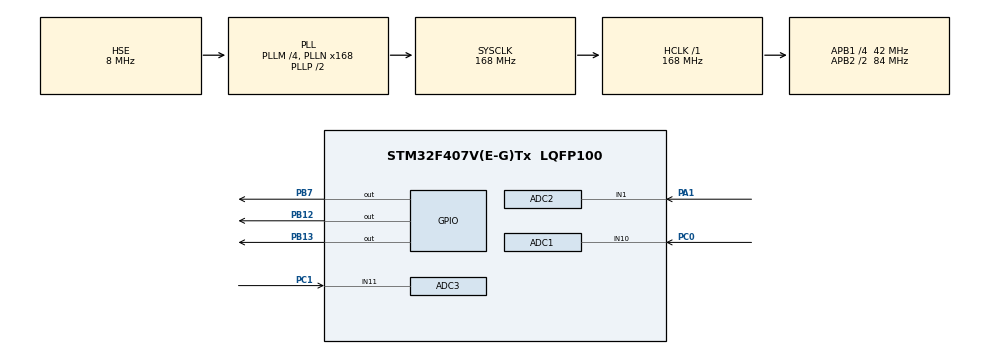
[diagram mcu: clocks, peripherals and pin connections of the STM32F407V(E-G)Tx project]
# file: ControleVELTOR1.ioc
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ADC1.Channel-3\#ChannelRegularConversion=ADC_CHANNEL_10
ADC1.ClockPrescaler=ADC_CLOCK_SYNC_PCLK_DIV8
ADC1.NbrOfConversionFlag=1
ADC1.Rank-3\#ChannelRegularConversion=1
ADC1.SamplingTime-3\#ChannelRegularConversion=ADC_SAMPLETIME_3CYCLES
ADC1.master=1
ADC2.Channel-1\#ChannelRegularConversion=ADC_CHANNEL_1
ADC2.ClockPrescaler=ADC_CLOCK_SYNC_PCLK_DIV8
ADC2.NbrOfConversionFlag=1
ADC2.Rank-1\#ChannelRegularConversion=1
ADC2.SamplingTime-1\#ChannelRegularConversion=ADC_SAMPLETIME_3CYCLES
ADC3.Channel-1\#ChannelRegularConversion=ADC_CHANNEL_11
ADC3.ClockPrescaler=ADC_CLOCK_SYNC_PCLK_DIV8
ADC3.NbrOfConversionFlag=1
ADC3.Rank-1\#ChannelRegularConversion=1
ADC3.SamplingTime-1\#ChannelRegularConversion=ADC_SAMPLETIME_3CYCLES
FREERTOS.Tasks01=defaultTask,24,128,StartDefaultTask,Default,NULL,Dynamic,NULL,NULL
FREERTOS.configUSE_NEWLIB_REENTRANT=1
Mcu.Family=STM32F4
Mcu.Name=STM32F407V(E-G)Tx
Mcu.Package=LQFP100
NVIC.ADC_IRQn=true\:5\:0\:false\:false\:true\:true\:true\:true
NVIC.PriorityGroup=NVIC_PRIORITYGROUP_4
NVIC.TIM6_DAC_IRQn=true\:15\:0\:false\:false\:true\:false\:false\:true
NVIC.TimeBase=TIM6_DAC_IRQn
NVIC.TimeBaseIP=TIM6
PA1.Signal=ADCx_IN1
PB12.Signal=GPIO_Output
PB13.Signal=GPIO_Output
PB7.Signal=GPIO_Output
PC0.Signal=ADCx_IN10
PC1.Signal=ADCx_IN11
PH0-OSC_IN.Mode=HSE-External-Oscillator
PH0-OSC_IN.Signal=RCC_OSC_IN
PH1-OSC_OUT.Mode=HSE-External-Oscillator
PH1-OSC_OUT.Signal=RCC_OSC_OUT
ProjectManager.HeapSize=0x200
ProjectManager.StackSize=0x400
ProjectManager.TargetToolchain=STM32CubeIDE
RCC.48MHZClocksFreq_Value=84000000
RCC.AHBFreq_Value=168000000
RCC.APB1CLKDivider=RCC_HCLK_DIV4
RCC.APB1Freq_Value=42000000
RCC.APB1TimFreq_Value=84000000
RCC.APB2CLKDivider=RCC_HCLK_DIV2
RCC.APB2Freq_Value=84000000
RCC.APB2TimFreq_Value=168000000
RCC.CortexFreq_Value=168000000
RCC.HCLKFreq_Value=168000000
RCC.HSE_VALUE=8000000
RCC.HSI_VALUE=16000000
RCC.LSE_VALUE=32768
RCC.PLLM=4
RCC.PLLN=168
RCC.PLLSourceVirtual=RCC_PLLSOURCE_HSE
RCC.SYSCLKFreq_VALUE=168000000
RCC.SYSCLKSource=RCC_SYSCLKSOURCE_PLLCLK
RCC.VCOOutputFreq_Value=336000000
SH.ADCx_IN1.0=ADC2_IN1,IN1
SH.ADCx_IN10.0=ADC1_IN10,IN10
SH.ADCx_IN11.0=ADC3_IN11,IN11
VP_FREERTOS_VS_CMSIS_V2.Mode=CMSIS_V2
VP_SYS_VS_tim6.Mode=TIM6
board=custom

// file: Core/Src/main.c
/* USER CODE BEGIN Header */
/**
  ******************************************************************************
  * @file           : main.c
  * @brief          : Main program body
  ******************************************************************************
  * @attention
  *
  * <h2><center>&copy; Copyright (c) 2021 STMicroelectronics.
  * All rights reserved.</center></h2>
  *
  * This software component is licensed by ST under BSD 3-Clause license,
  * the "License"; You may not use this file except in compliance with the
  * License. You may obtain a copy of the License at:
  *                        opensource.org/licenses/BSD-3-Clause
  *
  ******************************************************************************
  */
/* USER CODE END Header */
#include "main.h"
#include "cmsis_os.h"

/* USER CODE BEGIN Includes */
#include <stdint.h>
#include "pwm.h"
#include "qdc.h"
#include "task.h"
#include "queue.h"
#include "setup.h"
/* USER CODE END Includes */

/* USER CODE BEGIN PM */
//motor 1
#define Kp_w1 1
#define Ki_w1 1
#define Kd_w1 1
#define Kp_i1 1
#define Ki_i1 1
#define Kd_i1 1
//motor 2
#define Kp_w2 1
#define Ki_w2 1
#define Kd_w2 1
#define Kp_i2 1
#define Ki_i2 1
#define Kd_i2 1
//motor 3
#define Kp_w3 1
#define Ki_w3 1
#define Kd_w3 1
#define Kp_i3 1
#define Ki_i3 1
#define Kd_i3 1
//outros
#define pi 3.14159
#define kt 18.803
#define PPR 1440
#define dt 0.01
#define dt2 0.0005
/* USER CODE END PM */

ADC_HandleTypeDef hadc1;
ADC_HandleTypeDef hadc2;
ADC_HandleTypeDef hadc3;

/* Definitions for defaultTask */
osThreadId_t defaultTaskHandle;
const osThreadAttr_t defaultTask_attributes = {
  .name = "defaultTask",
  .stack_size = 128 * 4,
  .priority = (osPriority_t) osPriorityNormal,
};

void SystemClock_Config(void);
static void MX_GPIO_Init(void);
static void MX_ADC2_Init(void);
static void MX_ADC3_Init(void);
static void MX_ADC1_Init(void);
void StartDefaultTask(void *argument);

/* USER CODE BEGIN PFP */
void task_EncoderCrtlSpeed( void *pvParameters );
void task_ADCdataIn( void *pvParameters );
float *ctrl_PID (float kp, float ki, float kd, float T, float input, float setpoint, float *data);
QueueHandle_t xQueue_tqSpeed1;
QueueHandle_t xQueue_tqSpeed2;
QueueHandle_t xQueue_tqSpeed3;
QueueHandle_t xQueue_ADC1;
QueueHandle_t xQueue_ADC2;
QueueHandle_t xQueue_ADC3;
QueueHandle_t xQueue_setpointVel1; // filas para receber as velocidades definidas pelo usuário
QueueHandle_t xQueue_setpointVel2;
QueueHandle_t xQueue_setpointVel3;
static float dataInput_w1[3], dataInput_w2[3], dataInput_w3[3];
static float dataInput_i1[3], dataInput_i2[3], dataInput_i3[3];
static float *aux;
/* USER CODE END PFP */

int main(void)
{
  /* USER CODE BEGIN 1 */
  HAL_StatusTypeDef ADC_status1, ADC_status2, ADC_status3;
  PWM_Parameters_t Parameters1, Parameters2, Parameters3;
  QDC_Parameters_t QDC_Parameters1, QDC_Parameters2, QDC_Parameters3;
  /* USER CODE END 1 */

  /* MCU Configuration--------------------------------------------------------*/

  /* Reset of all peripherals, Initializes the Flash interface and the Systick. */
  HAL_Init();

  /* Configure the system clock */
  SystemClock_Config();

  /* Initialize all configured peripherals */
  MX_GPIO_Init();
  MX_ADC2_Init();
  MX_ADC3_Init();
  MX_ADC1_Init();
  /* USER CODE BEGIN 2 */
  //start_rtos();

  xQueue_tqSpeed1 = xQueueCreate( 1, sizeof( float ) );
  xQueue_tqSpeed2 = xQueueCreate( 1, sizeof( float ) );
  xQueue_tqSpeed3 = xQueueCreate( 1, sizeof( float ) );
  xQueue_ADC1 = xQueueCreate( 1, sizeof( uint32_t ) );
  xQueue_ADC2 = xQueueCreate( 1, sizeof( uint32_t ) );
  xQueue_ADC3 = xQueueCreate( 1, sizeof( uint32_t ) );
  xQueue_setpointVel1 = xQueueCreate( 1, sizeof( float ) );
  xQueue_setpointVel2 = xQueueCreate( 1, sizeof( float ) );
  xQueue_setpointVel3 = xQueueCreate( 1, sizeof( float ) );

  xTaskCreate(
         task_EncoderCrtlSpeed                     /* Funcao a qual esta implementado o que a tarefa deve fazer */
       , "EncoderCrtlSpeed"   /* Nome (para fins de debug, se necessário) */
       , 256                          /* Tamanho da stack (em words) reservada para essa tarefa */
       , NULL                         /* Parametros passados (nesse caso, não há) */
       , 1                            /* Prioridade */
       , NULL);                      /* Handle da tarefa, opcional (nesse caso, não há) */

  xTaskCreate(task_ADCdataIn, "LeituraADC", 256, NULL, 1, NULL);

  ADC_status1 = HAL_ADC_Start_IT(&hadc1); //Inicia o ADC1 com interrupção
  if (ADC_status1 != HAL_OK) //Verifica se ta tudo bem
  {
	  Error_Handler();
  }

  ADC_status2 = HAL_ADC_Start_IT(&hadc2); //Inicia o ADC2 com interrupção
  if (ADC_status2 != HAL_OK) //Verifica se ta tudo bem
  {
  	  Error_Handler();
  }

  ADC_status3 = HAL_ADC_Start_IT(&hadc3); //Inicia o ADC3 com interrupção
  if (ADC_status3 != HAL_OK) //Verifica se ta tudo bem
  {
      Error_Handler();
  }

  // motor 1
  Parameters1.Channel = PWM12_CH1_PB14;
  Parameters1.Duty = 50; // 50% pra iniciar
  Parameters1.Frequency = 15000.0;
  Parameters1.Mode = PWM_EDGE_ALIGNED;
  Parameters1.Preference = PWM_RESOLUTION;
  Parameters1.Reslution = PWM_8BITS;
  PWM_Init(0, Parameters1); //passa a estrutura com as configurações

  QDC_Parameters1.Port = QDC4_CH1_PD12_CH2_PD13;
  QDC_Parameters1.PullConfig = QDC_PULL_UP;
  QDC_Parameters1.Resolution = QDC_X1;
  QDC_Init(0, QDC_Parameters1); //Inicia Encoder

  //motor 2
  Parameters2.Channel = PWM12_CH2_PB15;
  Parameters2.Duty = 50; // 50% pra iniciar
  Parameters2.Frequency = 15000.0;
  Parameters2.Mode = PWM_EDGE_ALIGNED;
  Parameters2.Preference = PWM_RESOLUTION;
  Parameters2.Reslution = PWM_8BITS;
  PWM_Init(1, Parameters2); //passa a estrutura com as configurações

  QDC_Parameters2.Port = QDC3_CH1_PB4_CH2_PB5;
  QDC_Parameters2.PullConfig = QDC_PULL_UP;
  QDC_Parameters2.Resolution = QDC_X1;
  QDC_Init(1, QDC_Parameters2); //Inicia Encoder

  //motor 3
  Parameters3.Channel = PWM10_CH1_PB8;
  Parameters3.Duty = 50; // 50% pra iniciar
  Parameters3.Frequency = 15000.0;
  Parameters3.Mode = PWM_EDGE_ALIGNED;
  Parameters3.Preference = PWM_RESOLUTION;
  Parameters3.Reslution = PWM_8BITS;
  PWM_Init(2, Parameters3); //passa a estrutura com as configurações

  QDC_Parameters3.Port = QDC8_CH1_PC6_CH2_PC7;
  QDC_Parameters3.PullConfig = QDC_PULL_UP;
  QDC_Parameters3.Resolution = QDC_X1;
  QDC_Init(2, QDC_Parameters3); //Inicia Encoder

  for (int i = 0; i<=3; i++){
	  dataInput_w1[i] = 0;
	  dataInput_w2[i] = 0;
	  dataInput_w3[i] = 0;
	  dataInput_i1[i] = 0;
	  dataInput_i2[i] = 0;
	  dataInput_i3[i] = 0;
  }

  vTaskStartScheduler();
  /* USER CODE END 2 */

  /* Init scheduler */
  osKernelInitialize();

  /* Create the thread(s) */
  /* creation of defaultTask */
  defaultTaskHandle = osThreadNew(StartDefaultTask, NULL, &defaultTask_attributes);

  /* Start scheduler */
  osKernelStart();

  /* We should never get here as control is now taken by the scheduler */
  /* Infinite loop */
  while (1)
  {

  }
}

void SystemClock_Config(void)
{
  RCC_OscInitTypeDef RCC_OscInitStruct = {0};
  RCC_ClkInitTypeDef RCC_ClkInitStruct = {0};

  /** Configure the main internal regulator output voltage
  */
  __HAL_RCC_PWR_CLK_ENABLE();
  __HAL_PWR_VOLTAGESCALING_CONFIG(PWR_REGULATOR_VOLTAGE_SCALE1);
  /** Initializes the RCC Oscillators according to the specified parameters
  * in the RCC_OscInitTypeDef structure.
  */
  RCC_OscInitStruct.OscillatorType = RCC_OSCILLATORTYPE_HSE;
  RCC_OscInitStruct.HSEState = RCC_HSE_ON;
  RCC_OscInitStruct.PLL.PLLState = RCC_PLL_ON;
  RCC_OscInitStruct.PLL.PLLSource = RCC_PLLSOURCE_HSE;
  RCC_OscInitStruct.PLL.PLLM = 4;
  RCC_OscInitStruct.PLL.PLLN = 168;
  RCC_OscInitStruct.PLL.PLLP = RCC_PLLP_DIV2;
  RCC_OscInitStruct.PLL.PLLQ = 4;
  if (HAL_RCC_OscConfig(&RCC_OscInitStruct) != HAL_OK)
  {
    Error_Handler();
  }
  /** Initializes the CPU, AHB and APB buses clocks
  */
  RCC_ClkInitStruct.ClockType = RCC_CLOCKTYPE_HCLK|RCC_CLOCKTYPE_SYSCLK
                              |RCC_CLOCKTYPE_PCLK1|RCC_CLOCKTYPE_PCLK2;
  RCC_ClkInitStruct.SYSCLKSource = RCC_SYSCLKSOURCE_PLLCLK;
  RCC_ClkInitStruct.AHBCLKDivider = RCC_SYSCLK_DIV1;
  RCC_ClkInitStruct.APB1CLKDivider = RCC_HCLK_DIV4;
  RCC_ClkInitStruct.APB2CLKDivider = RCC_HCLK_DIV2;

  if (HAL_RCC_ClockConfig(&RCC_ClkInitStruct, FLASH_LATENCY_5) != HAL_OK)
  {
    Error_Handler();
  }
}

static void MX_ADC1_Init(void)
{

  ADC_ChannelConfTypeDef sConfig = {0};

  /** Configure the global features of the ADC (Clock, Resolution, Data Alignment and number of conversion)
  */
  hadc1.Instance = ADC1;
  hadc1.Init.ClockPrescaler = ADC_CLOCK_SYNC_PCLK_DIV8;
  hadc1.Init.Resolution = ADC_RESOLUTION_12B;
  hadc1.Init.ScanConvMode = DISABLE;
  hadc1.Init.ContinuousConvMode = DISABLE;
  hadc1.Init.DiscontinuousConvMode = DISABLE;
  hadc1.Init.ExternalTrigConvEdge = ADC_EXTERNALTRIGCONVEDGE_NONE;
  hadc1.Init.ExternalTrigConv = ADC_SOFTWARE_START;
  hadc1.Init.DataAlign = ADC_DATAALIGN_RIGHT;
  hadc1.Init.NbrOfConversion = 1;
  hadc1.Init.DMAContinuousRequests = DISABLE;
  hadc1.Init.EOCSelection = ADC_EOC_SINGLE_CONV;
  if (HAL_ADC_Init(&hadc1) != HAL_OK)
  {
    Error_Handler();
  }
  /** Configure for the selected ADC regular channel its corresponding rank in the sequencer and its sample time.
  */
  sConfig.Channel = ADC_CHANNEL_10;
  sConfig.Rank = 1;
  sConfig.SamplingTime = ADC_SAMPLETIME_3CYCLES;
  if (HAL_ADC_ConfigChannel(&hadc1, &sConfig) != HAL_OK)
  {
    Error_Handler();
  }
  /* USER CODE BEGIN ADC1_Init 2 */
  NVIC_SetPriority(ADC_IRQn,
      		  NVIC_EncodePriority(NVIC_GetPriorityGrouping(), 0, 0));
  NVIC_EnableIRQ(ADC_IRQn);
  /* USER CODE END ADC1_Init 2 */

}

static void MX_ADC2_Init(void)
{

  ADC_ChannelConfTypeDef sConfig = {0};

  /** Configure the global features of the ADC (Clock, Resolution, Data Alignment and number of conversion)
  */
  hadc2.Instance = ADC2;
  hadc2.Init.ClockPrescaler = ADC_CLOCK_SYNC_PCLK_DIV8;
  hadc2.Init.Resolution = ADC_RESOLUTION_12B;
  hadc2.Init.ScanConvMode = DISABLE;
  hadc2.Init.ContinuousConvMode = DISABLE;
  hadc2.Init.DiscontinuousConvMode = DISABLE;
  hadc2.Init.ExternalTrigConvEdge = ADC_EXTERNALTRIGCONVEDGE_NONE;
  hadc2.Init.ExternalTrigConv = ADC_SOFTWARE_START;
  hadc2.Init.DataAlign = ADC_DATAALIGN_RIGHT;
  hadc2.Init.NbrOfConversion = 1;
  hadc2.Init.DMAContinuousRequests = DISABLE;
  hadc2.Init.EOCSelection = ADC_EOC_SINGLE_CONV;
  if (HAL_ADC_Init(&hadc2) != HAL_OK)
  {
    Error_Handler();
  }
  /** Configure for the selected ADC regular channel its corresponding rank in the sequencer and its sample time.
  */
  sConfig.Channel = ADC_CHANNEL_1;
  sConfig.Rank = 1;
  sConfig.SamplingTime = ADC_SAMPLETIME_3CYCLES;
  if (HAL_ADC_ConfigChannel(&hadc2, &sConfig) != HAL_OK)
  {
    Error_Handler();
  }
  /* USER CODE BEGIN ADC2_Init 2 */
  NVIC_SetPriority(ADC_IRQn,
    		  NVIC_EncodePriority(NVIC_GetPriorityGrouping(), 0, 0));
  NVIC_EnableIRQ(ADC_IRQn);
  /* USER CODE END ADC2_Init 2 */

}

static void MX_ADC3_Init(void)
{

  ADC_ChannelConfTypeDef sConfig = {0};

  /** Configure the global features of the ADC (Clock, Resolution, Data Alignment and number of conversion)
  */
  hadc3.Instance = ADC3;
  hadc3.Init.ClockPrescaler = ADC_CLOCK_SYNC_PCLK_DIV8;
  hadc3.Init.Resolution = ADC_RESOLUTION_12B;
  hadc3.Init.ScanConvMode = DISABLE;
  hadc3.Init.ContinuousConvMode = DISABLE;
  hadc3.Init.DiscontinuousConvMode = DISABLE;
  hadc3.Init.ExternalTrigConvEdge = ADC_EXTERNALTRIGCONVEDGE_NONE;
  hadc3.Init.ExternalTrigConv = ADC_SOFTWARE_START;
  hadc3.Init.DataAlign = ADC_DATAALIGN_RIGHT;
  hadc3.Init.NbrOfConversion = 1;
  hadc3.Init.DMAContinuousRequests = DISABLE;
  hadc3.Init.EOCSelection = ADC_EOC_SINGLE_CONV;
  if (HAL_ADC_Init(&hadc3) != HAL_OK)
  {
    Error_Handler();
  }
  /** Configure for the selected ADC regular channel its corresponding rank in the sequencer and its sample time.
  */
  sConfig.Channel = ADC_CHANNEL_11;
  sConfig.Rank = 1;
  sConfig.SamplingTime = ADC_SAMPLETIME_3CYCLES;
  if (HAL_ADC_ConfigChannel(&hadc3, &sConfig) != HAL_OK)
  {
    Error_Handler();
  }
  /* USER CODE BEGIN ADC3_Init 2 */
  NVIC_SetPriority(ADC_IRQn,
    		  NVIC_EncodePriority(NVIC_GetPriorityGrouping(), 0, 0));
  NVIC_EnableIRQ(ADC_IRQn);
  /* USER CODE END ADC3_Init 2 */

}

static void MX_GPIO_Init(void)
{
  GPIO_InitTypeDef GPIO_InitStruct = {0};

  /* GPIO Ports Clock Enable */
  __HAL_RCC_GPIOH_CLK_ENABLE();
  __HAL_RCC_GPIOC_CLK_ENABLE();
  __HAL_RCC_GPIOA_CLK_ENABLE();
  __HAL_RCC_GPIOB_CLK_ENABLE();

  /*Configure GPIO pin Output Level */
  HAL_GPIO_WritePin(GPIOB, GPIO_PIN_12|GPIO_PIN_13|GPIO_PIN_7, GPIO_PIN_RESET);

  /*Configure GPIO pins : PB12 PB13 PB7 */
  GPIO_InitStruct.Pin = DRV_GPIO_PIN_DIR1|DRV_GPIO_PIN_DIR2|DRV_GPIO_PIN_DIR3;
  GPIO_InitStruct.Mode = GPIO_MODE_OUTPUT_PP;
  GPIO_InitStruct.Pull = GPIO_NOPULL;
  GPIO_InitStruct.Speed = GPIO_SPEED_FREQ_LOW;
  HAL_GPIO_Init(GPIOB, &GPIO_InitStruct);
}

/* USER CODE BEGIN 4 */
//motor 1
void HAL_ADC_ConvCpltCallback( ADC_HandleTypeDef* hadc ) //entra nessa interrupção a cada T = 1,43us
{
	portBASE_TYPE xHigherPriorityTaskWoken1 = pdFALSE, xHigherPriorityTaskWoken2 = pdFALSE, xHigherPriorityTaskWoken3 = pdFALSE;
	// motor 1
	if(hadc->Instance == ADC1)
	{
		uint32_t leitura1 = HAL_ADC_GetValue(hadc);
		xQueueSendFromISR(xQueue_ADC1, (void *)&leitura1, &xHigherPriorityTaskWoken1);
		if(xHigherPriorityTaskWoken1)
		{
			portYIELD_FROM_ISR(xHigherPriorityTaskWoken1);
		}
	}

	// motor 2
	if(hadc->Instance == ADC2)
	{
		uint32_t leitura2 = HAL_ADC_GetValue(hadc);
		xQueueSendFromISR(xQueue_ADC2, (void *)&leitura2, &xHigherPriorityTaskWoken2);
		if(xHigherPriorityTaskWoken2)
		{
			portYIELD_FROM_ISR(xHigherPriorityTaskWoken2);
		}
	}

	// motor 3
	if(hadc->Instance == ADC3)
	{
		uint32_t leitura3 = HAL_ADC_GetValue(hadc);
		xQueueSendFromISR(xQueue_ADC3, (void *)&leitura3, &xHigherPriorityTaskWoken3);
		if(xHigherPriorityTaskWoken3)
	    {
			portYIELD_FROM_ISR(xHigherPriorityTaskWoken3);
	    }
	}
}

void task_ADCdataIn( void *pvParameters )
{
	static uint32_t leitura_ADC1, leitura_ADC2, leitura_ADC3;
	static float tq1 = 0, tq2 = 0, tq3 = 0, tqSpeed1 = 0, tqSpeed2 = 0, tqSpeed3 = 0;
	static float dutc1 = 0, dutc2 = 0, dutc3 = 0;
	//dataInput_iX = {u, u1, erro1, erro2};
	while(1)
	{
		//motor 1
		xQueueReceive(xQueue_ADC1, (void *)&leitura_ADC1,  pdMS_TO_TICKS(0));
		tq1 = kt*leitura_ADC1; //coverte para torque T = K*I
		xQueueReceive(xQueue_tqSpeed1, (void *)&tqSpeed1,  pdMS_TO_TICKS(0));
		aux = ctrl_PID (Kp_i1, Ki_i1, Kd_i1, dt2, tq1, tqSpeed1, dataInput_i1);
		for (int i = 0; i<=3; i++){
			dataInput_i1[i] = aux[i];
		}
		//xQueueOverwrite(xQueue_Current, (void *)&leitura_ADC1);
		dutc1 = (100/12)*dataInput_i1[0]; // aux[0] = u1 --> sinal do controlador
		PWM_SetDuty(0, dutc1); // define a velocidade do motor de 0 a 100%

		//motor 2
		xQueueReceive(xQueue_ADC2, (void *)&leitura_ADC2,  pdMS_TO_TICKS(0));
		tq2 = kt*leitura_ADC2; //coverte para torque T = K*I
		xQueueReceive(xQueue_tqSpeed2, (void *)&tqSpeed2, pdMS_TO_TICKS(0));
		aux = ctrl_PID (Kp_i2, Ki_i2, Kd_i2, dt2, tq2, tqSpeed2, dataInput_i2);
		for (int i = 0; i<=3; i++){
			dataInput_i2[i] = aux[i];
		}
		//xQueueOverwrite(xQueue_Current, (void *)&leitura_ADC2);
		dutc2 = (100/12)*dataInput_i2[0];
		PWM_SetDuty(1, dutc2); // define a velocidade do motor de 0 a 100%

		//motor 3
		xQueueReceive(xQueue_ADC3, (void *)&leitura_ADC3, pdMS_TO_TICKS(0));
		tq3 = kt*leitura_ADC3; //coverte para torque T = K*I
		xQueueReceive(xQueue_tqSpeed3, (void *)&tqSpeed3, pdMS_TO_TICKS(0));
		aux = ctrl_PID (Kp_i3, Ki_i3, Kd_i3, dt2, tq3, tqSpeed3, dataInput_i3);
		for (int i = 0; i<=3; i++){
			dataInput_i3[i] = aux[i];
		}
		//xQueueOverwrite(xQueue_Current, (void *)&leitura_ADC3);
		dutc3 = (100/12)*dataInput_i3[0];
		PWM_SetDuty(2, dutc3); // define a velocidade do motor de 0 a 100%

		vTaskDelay(pdMS_TO_TICKS(1));
	}
}

void task_EncoderCrtlSpeed( void *pvParameters )
{
	int32_t QDC_pulses1, QDC_pulses2, QDC_pulses3;
	float velAng = 0, setVel1 = 0, setVel2 = 0, setVel3 = 0;
	//dataInput_wX = {u, u1, erro1, erro2};
	while(1)
	{
		// motor 1
		xQueueReceive(xQueue_setpointVel1, (void *)&setVel1, pdMS_TO_TICKS(1));
		QDC_Read(0, &QDC_pulses1);
		velAng = ((QDC_pulses1*(2*pi))/PPR)/dt;
		aux = ctrl_PID (Kp_w1, Ki_w1, Kd_w1, dt, velAng, setVel1, dataInput_w1);
		HAL_ADC_Start_IT(&hadc1); // inicia novamente o ADC
		for (int i = 0; i<=3; i++){
			dataInput_w1[i] = aux[i];
		}
		xQueueOverwrite(xQueue_tqSpeed1, (void *)&dataInput_w1[0]); // passa o sinal de controle u

		// motor 2
		xQueueReceive(xQueue_setpointVel2, (void *)&setVel2, pdMS_TO_TICKS(1));
		QDC_Read(1, &QDC_pulses2);
		velAng = ((QDC_pulses2*(2*pi))/PPR)/dt;
		aux = ctrl_PID (Kp_w2, Ki_w2, Kd_w2, dt, velAng, setVel2, dataInput_w2);
		HAL_ADC_Start_IT(&hadc2);
		for (int i = 0; i<=3; i++){
			dataInput_w2[i] = aux[i];
		}
		xQueueOverwrite(xQueue_tqSpeed2, (void *)&dataInput_w2[0]); // passa o sinal de controle u

		// motor 3
		xQueueReceive(xQueue_setpointVel3, (void *)&setVel3, pdMS_TO_TICKS(1));
		QDC_Read(2, &QDC_pulses3);
		velAng = ((QDC_pulses3*(2*pi))/PPR)/dt;
		aux = ctrl_PID (Kp_w3, Ki_w3, Kd_w3, dt, velAng, setVel3, dataInput_w3);
		HAL_ADC_Start_IT(&hadc3);
		for (int i = 0; i<=3; i++){
			dataInput_w3[i] = aux[i];
		}
		xQueueOverwrite(xQueue_tqSpeed3, (void *)&dataInput_w3[0]); // passa o sinal de controle u

		vTaskDelay(pdMS_TO_TICKS(10));
	}
}

float *ctrl_PID ( float kp, float ki, float kd, float T, float input, float setpoint, float *data)
{
	//data = {u, u1, erro1, erro2};
	static float erro = 0;
	erro = setpoint - input;
	data[0] = data[1] + kp*(erro - data[2]) + ki*dt*erro + (kd/T)*(erro - 2*data[2] - data[3]);
	data[1] = data[0]; // u1 = u;
	data[3] = data[2]; // erro2 = erro1;
	data[2] = erro; // erro1 = erro;
	return data;
}

/* USER CODE END 4 */

void StartDefaultTask(void *argument)
{
  for(;;)
  {
    osDelay(1);
  }
}

void HAL_TIM_PeriodElapsedCallback(TIM_HandleTypeDef *htim)
{
  if (htim->Instance == TIM6) {
    HAL_IncTick();
  }
}

void Error_Handler(void)
{
  __disable_irq();
  while (1)
  {
  }
}

/************************ (C) COPYRIGHT STMicroelectronics *****END OF FILE****/
